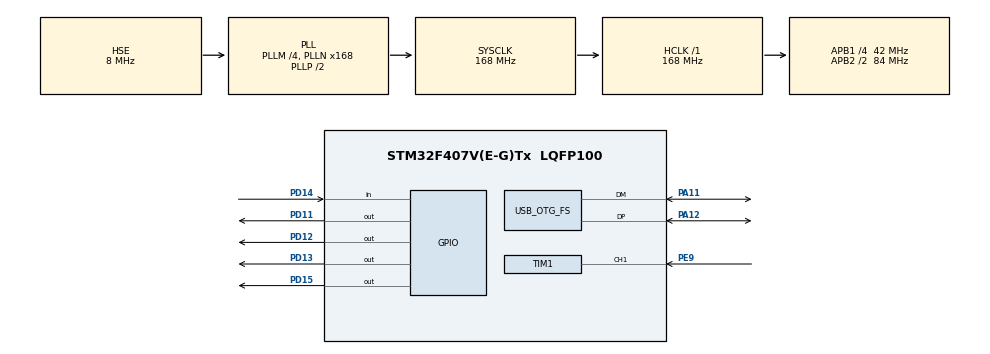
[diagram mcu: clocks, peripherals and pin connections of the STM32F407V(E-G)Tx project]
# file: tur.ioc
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Mcu.Family=STM32F4
USB_DEVICE.CLASS_NAME_FS=CDC
PH0-OSC_IN.Signal=RCC_OSC_IN
RCC.CortexFreq_Value=168000000
USB_DEVICE.VirtualModeFS=Cdc_FS
PA11.Mode=Device_Only
USB_DEVICE.VirtualMode-CDC_FS=Cdc
RCC.APB1CLKDivider=RCC_HCLK_DIV4
VP_TIM1_VS_ControllerModeGated.Mode=Gated Mode
RCC.SYSCLKSource=RCC_SYSCLKSOURCE_PLLCLK
ProjectManager.StackSize=0x400
PD13.Signal=GPIO_Output
PA12.Signal=USB_OTG_FS_DP
TIM1.Prescaler=167
SH.S_TIM1_CH1.0=TIM1_CH1,TriggerSource_TI1FP1
ProjectManager.TargetToolchain=STM32CubeIDE
USB_DEVICE.PRODUCT_STRING_CDC_FS=STM32Port
RCC.HCLKFreq_Value=168000000
VP_USB_DEVICE_VS_USB_DEVICE_CDC_FS.Mode=CDC_FS
RCC.APB2TimFreq_Value=168000000
RCC.LSE_VALUE=32768
RCC.AHBFreq_Value=168000000
PH0-OSC_IN.Mode=HSE-External-Oscillator
NVIC.TIM1_TRG_COM_TIM11_IRQn=true\:0\:0\:false\:false\:true\:true\:true
RCC.HSE_VALUE=8000000
board=custom
RCC.VCOOutputFreq_Value=336000000
RCC.APB2Freq_Value=84000000
VP_TIM2_VS_ClockSourceINT.Mode=Internal
PE9.Signal=S_TIM1_CH1
NVIC.TIM2_IRQn=true\:0\:0\:false\:false\:true\:true\:true
PH1-OSC_OUT.Signal=RCC_OSC_OUT
PD14.GPIO_PuPd=GPIO_PULLDOWN
TIM2.Period=9
Mcu.Name=STM32F407V(E-G)Tx
VP_TIM1_VS_ClockSourceINT.Mode=Internal
PD14.Signal=GPIO_Input
TIM1.Slave_TriggerFilter=15
PH1-OSC_OUT.Mode=HSE-External-Oscillator
RCC.48MHZClocksFreq_Value=48000000
RCC.SYSCLKFreq_VALUE=168000000
Mcu.Package=LQFP100
TIM2.Prescaler=83
PA12.Mode=Device_Only
PD11.Signal=GPIO_Output
PD12.Signal=GPIO_Output
NVIC.OTG_FS_IRQn=true\:0\:0\:false\:false\:true\:false\:true
PA11.Signal=USB_OTG_FS_DM
USB_OTG_FS.VirtualMode=Device_Only
ProjectManager.HeapSize=0x200
NVIC.TIM1_UP_TIM10_IRQn=true\:0\:0\:false\:false\:true\:true\:true
RCC.HSI_VALUE=16000000
RCC.PLLQ=7
NVIC.PriorityGroup=NVIC_PRIORITYGROUP_4
RCC.APB2CLKDivider=RCC_HCLK_DIV2
RCC.PLLM=4
RCC.PLLN=168
RCC.APB1TimFreq_Value=84000000
TIM1.Period=23323
RCC.APB1Freq_Value=42000000
PD15.Signal=GPIO_Output

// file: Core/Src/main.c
/* USER CODE BEGIN Header */
/**
  ******************************************************************************
  * @file           : main.c
  * @brief          : Main program body
  ******************************************************************************
  * @attention
  *
  * <h2><center>&copy; Copyright (c) 2021 STMicroelectronics.
  * All rights reserved.</center></h2>
  *
  * This software component is licensed by ST under BSD 3-Clause license,
  * the "License"; You may not use this file except in compliance with the
  * License. You may obtain a copy of the License at:
  *                        opensource.org/licenses/BSD-3-Clause
  *
  ******************************************************************************
  */
/* USER CODE END Header */
#include "main.h"
#include "usb_device.h"
#include "hcsr04_sensor.h"

/* USER CODE BEGIN Includes */
#include "usbd_cdc_if.h"

#include <string.h>
#include <stdio.h>
/* USER CODE END Includes */

TIM_HandleTypeDef htim1;
TIM_HandleTypeDef htim2;

/* USER CODE BEGIN PV */
float tx_us = 0;     //the time (transmission + reception) between object and the sensor in microseconds.
//float tx_ms = 0;   //the time in milliseconds.

//float dx_mm = 0;   //the distance(mm) converted from  the time (transmission + reception).
float dx_cm = 0;     //the distance(cm) ....
//float dx_m = 0;    //the distance(m) ....
//float dx_inch = 0; //the distance(inch) ....

hcsr04_data_t HCSR04_sensor;

//char log_info[120];
//int Alarm_Flag = 0;
/* USER CODE END PV */

void SystemClock_Config(void);
static void MX_GPIO_Init(void);
static void MX_TIM2_Init(void);
static void MX_TIM1_Init(void);
/* USER CODE BEGIN PFP */

void Delay(uint32_t i)
{
	static uint32_t j=0, ij=0;
	for(ij=0;ij<i;ij++)
		for(j=0;j<1;j++);
}

void HAL_TIM_PeriodElapsedCallback(TIM_HandleTypeDef *htim)
{

	HCSR04_TIM_PEC(htim);

}

//void AlarmSet(double alarm_level)
//{
//
//	if(dx_cm <= alarm_level)
//	{
//		HAL_GPIO_WritePin(GPIOD, GPIO_PIN_14, GPIO_PIN_SET);      //Alarm On
//		Alarm_Flag = 1;                                           //Set Alarm Flag
//	}
//	else
//	{
//		HAL_GPIO_WritePin(GPIOD, GPIO_PIN_14, GPIO_PIN_RESET);    //Alarm Off
//		Alarm_Flag = 0;                                           //Reset Alarm Flag
//	}

//}
/* USER CODE END PFP */

int main(void)
{
  /* USER CODE BEGIN 1 */
	int i=0;
	int dx_cm_int = 0;
	  int intpart = 0;
	  float decpart = 0.0;
	  int decpart_int = 0;
	  float Distance = 0.0;
	  int intpart2 = 0;
	  float decpart2 = 0.0;
	  int decpart_int2 = 0;
	  uint32_t time, time_copy;
uint8_t myBuf[30]="\r\n";
uint8_t myBuf1[30]="\r\n";
char message[200], number[8];
uint16_t distancesInCm[2];
  /* USER CODE END 1 */

  /* MCU Configuration--------------------------------------------------------*/

  /* Reset of all peripherals, Initializes the Flash interface and the Systick. */
  HAL_Init();

  /* Configure the system clock */
  SystemClock_Config();

  /* Initialize all configured peripherals */
  MX_GPIO_Init();
  MX_TIM2_Init();
  MX_USB_DEVICE_Init();
  MX_TIM1_Init();
  /* USER CODE BEGIN 2 */
	HCSR04_Init();

  /* USER CODE END 2 */

  /* Infinite loop */
  /* USER CODE BEGIN WHILE */
  while (1)
  {

		HCSR04_GetInfo(&HCSR04_sensor);

	    tx_us = HCSR04_sensor.duration_us;  //the time duration(us) of the signal obtained from echo pin (transmission + reception).
			dx_cm = HCSR04_sensor.distance_cm;  //the distance in cm.
			intpart = dx_cm;
			decpart = dx_cm - intpart;
			decpart_int = decpart * 10;
	  i=i+1;
	  //snprintf(myBuf, 30, "%d", i);

//snprintf(myBuf1, 30, "%d.%d \n", intpart, decpart_int);
//CDC_Transmit_FS(myBuf1, strlen((char *)myBuf1));

HAL_GPIO_WritePin(GPIOD, GPIO_PIN_11, GPIO_PIN_RESET); //triger
HAL_GPIO_WritePin(GPIOD, GPIO_PIN_14, GPIO_PIN_RESET); // echo

HAL_GPIO_WritePin(GPIOD, GPIO_PIN_11, GPIO_PIN_SET); //triger
Delay(8); // delay 10us
HAL_GPIO_WritePin(GPIOD, GPIO_PIN_11, GPIO_PIN_RESET); //triger

while(HAL_GPIO_ReadPin(GPIOD, GPIO_PIN_14) == 0x00){

}

time = 0;
while(HAL_GPIO_ReadPin(GPIOD, GPIO_PIN_14) != 0x00){
	time++;
	Delay(1);

}
time_copy = time;
Distance = (float)time_copy * 0.0171821*4;
intpart2 = Distance;
decpart2 = Distance - intpart2;
decpart_int2 = decpart2 * 10;
snprintf(myBuf1, 30, "%d.%d %d.%d\n", intpart, decpart_int, intpart2, decpart_int2);
CDC_Transmit_FS(myBuf1, strlen((char *)myBuf1));
Delay(8*100*1000); // every second

//HAL_Delay(180);

    /* USER CODE END WHILE */

  }
}

void SystemClock_Config(void)
{
  RCC_OscInitTypeDef RCC_OscInitStruct = {0};
  RCC_ClkInitTypeDef RCC_ClkInitStruct = {0};

  /** Configure the main internal regulator output voltage
  */
  __HAL_RCC_PWR_CLK_ENABLE();
  __HAL_PWR_VOLTAGESCALING_CONFIG(PWR_REGULATOR_VOLTAGE_SCALE1);
  /** Initializes the RCC Oscillators according to the specified parameters
  * in the RCC_OscInitTypeDef structure.
  */
  RCC_OscInitStruct.OscillatorType = RCC_OSCILLATORTYPE_HSE;
  RCC_OscInitStruct.HSEState = RCC_HSE_ON;
  RCC_OscInitStruct.PLL.PLLState = RCC_PLL_ON;
  RCC_OscInitStruct.PLL.PLLSource = RCC_PLLSOURCE_HSE;
  RCC_OscInitStruct.PLL.PLLM = 4;
  RCC_OscInitStruct.PLL.PLLN = 168;
  RCC_OscInitStruct.PLL.PLLP = RCC_PLLP_DIV2;
  RCC_OscInitStruct.PLL.PLLQ = 7;
  if (HAL_RCC_OscConfig(&RCC_OscInitStruct) != HAL_OK)
  {
    Error_Handler();
  }
  /** Initializes the CPU, AHB and APB buses clocks
  */
  RCC_ClkInitStruct.ClockType = RCC_CLOCKTYPE_HCLK|RCC_CLOCKTYPE_SYSCLK
                              |RCC_CLOCKTYPE_PCLK1|RCC_CLOCKTYPE_PCLK2;
  RCC_ClkInitStruct.SYSCLKSource = RCC_SYSCLKSOURCE_PLLCLK;
  RCC_ClkInitStruct.AHBCLKDivider = RCC_SYSCLK_DIV1;
  RCC_ClkInitStruct.APB1CLKDivider = RCC_HCLK_DIV4;
  RCC_ClkInitStruct.APB2CLKDivider = RCC_HCLK_DIV2;

  if (HAL_RCC_ClockConfig(&RCC_ClkInitStruct, FLASH_LATENCY_5) != HAL_OK)
  {
    Error_Handler();
  }
}

static void MX_TIM1_Init(void)
{

  TIM_ClockConfigTypeDef sClockSourceConfig = {0};
  TIM_SlaveConfigTypeDef sSlaveConfig = {0};
  TIM_MasterConfigTypeDef sMasterConfig = {0};

  htim1.Instance = TIM1;
  htim1.Init.Prescaler = 167;
  htim1.Init.CounterMode = TIM_COUNTERMODE_UP;
  htim1.Init.Period = 23323;
  htim1.Init.ClockDivision = TIM_CLOCKDIVISION_DIV1;
  htim1.Init.RepetitionCounter = 0;
  htim1.Init.AutoReloadPreload = TIM_AUTORELOAD_PRELOAD_DISABLE;
  if (HAL_TIM_Base_Init(&htim1) != HAL_OK)
  {
    Error_Handler();
  }
  sClockSourceConfig.ClockSource = TIM_CLOCKSOURCE_INTERNAL;
  if (HAL_TIM_ConfigClockSource(&htim1, &sClockSourceConfig) != HAL_OK)
  {
    Error_Handler();
  }
  sSlaveConfig.SlaveMode = TIM_SLAVEMODE_GATED;
  sSlaveConfig.InputTrigger = TIM_TS_TI1FP1;
  sSlaveConfig.TriggerPolarity = TIM_TRIGGERPOLARITY_RISING;
  sSlaveConfig.TriggerFilter = 15;
  if (HAL_TIM_SlaveConfigSynchro(&htim1, &sSlaveConfig) != HAL_OK)
  {
    Error_Handler();
  }
  sMasterConfig.MasterOutputTrigger = TIM_TRGO_RESET;
  sMasterConfig.MasterSlaveMode = TIM_MASTERSLAVEMODE_DISABLE;
  if (HAL_TIMEx_MasterConfigSynchronization(&htim1, &sMasterConfig) != HAL_OK)
  {
    Error_Handler();
  }

}

static void MX_TIM2_Init(void)
{

  TIM_ClockConfigTypeDef sClockSourceConfig = {0};
  TIM_MasterConfigTypeDef sMasterConfig = {0};

  htim2.Instance = TIM2;
  htim2.Init.Prescaler = 83;
  htim2.Init.CounterMode = TIM_COUNTERMODE_UP;
  htim2.Init.Period = 9;
  htim2.Init.ClockDivision = TIM_CLOCKDIVISION_DIV1;
  htim2.Init.AutoReloadPreload = TIM_AUTORELOAD_PRELOAD_DISABLE;
  if (HAL_TIM_Base_Init(&htim2) != HAL_OK)
  {
    Error_Handler();
  }
  sClockSourceConfig.ClockSource = TIM_CLOCKSOURCE_INTERNAL;
  if (HAL_TIM_ConfigClockSource(&htim2, &sClockSourceConfig) != HAL_OK)
  {
    Error_Handler();
  }
  sMasterConfig.MasterOutputTrigger = TIM_TRGO_RESET;
  sMasterConfig.MasterSlaveMode = TIM_MASTERSLAVEMODE_DISABLE;
  if (HAL_TIMEx_MasterConfigSynchronization(&htim2, &sMasterConfig) != HAL_OK)
  {
    Error_Handler();
  }

}

static void MX_GPIO_Init(void)
{
  GPIO_InitTypeDef GPIO_InitStruct = {0};

  /* GPIO Ports Clock Enable */
  __HAL_RCC_GPIOH_CLK_ENABLE();
  __HAL_RCC_GPIOE_CLK_ENABLE();
  __HAL_RCC_GPIOD_CLK_ENABLE();
  __HAL_RCC_GPIOA_CLK_ENABLE();

  /*Configure GPIO pin Output Level */
  HAL_GPIO_WritePin(GPIOD, GPIO_PIN_11|GPIO_PIN_12|GPIO_PIN_13|GPIO_PIN_15, GPIO_PIN_RESET);

  /*Configure GPIO pins : PD11 PD12 PD13 PD15 */
  GPIO_InitStruct.Pin = GPIO_PIN_11|GPIO_PIN_12|GPIO_PIN_13|GPIO_PIN_15;
  GPIO_InitStruct.Mode = GPIO_MODE_OUTPUT_PP;
  GPIO_InitStruct.Pull = GPIO_NOPULL;
  GPIO_InitStruct.Speed = GPIO_SPEED_FREQ_LOW;
  HAL_GPIO_Init(GPIOD, &GPIO_InitStruct);

  /*Configure GPIO pin : PD14 */
  GPIO_InitStruct.Pin = GPIO_PIN_14;
  GPIO_InitStruct.Mode = GPIO_MODE_INPUT;
  GPIO_InitStruct.Pull = GPIO_PULLDOWN;
  HAL_GPIO_Init(GPIOD, &GPIO_InitStruct);

}

void Error_Handler(void)
{
  __disable_irq();
  while (1)
  {
  }
}

/************************ (C) COPYRIGHT STMicroelectronics *****END OF FILE****/
